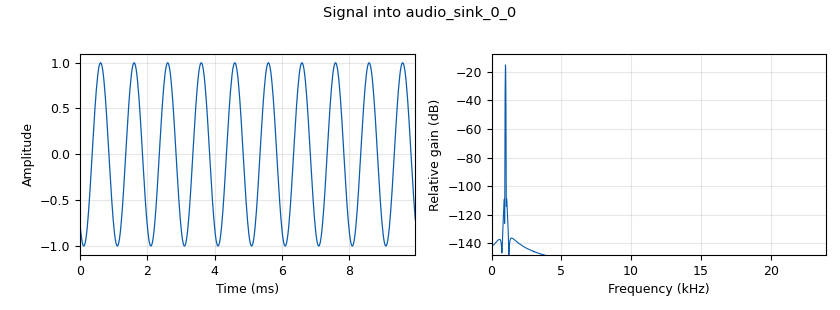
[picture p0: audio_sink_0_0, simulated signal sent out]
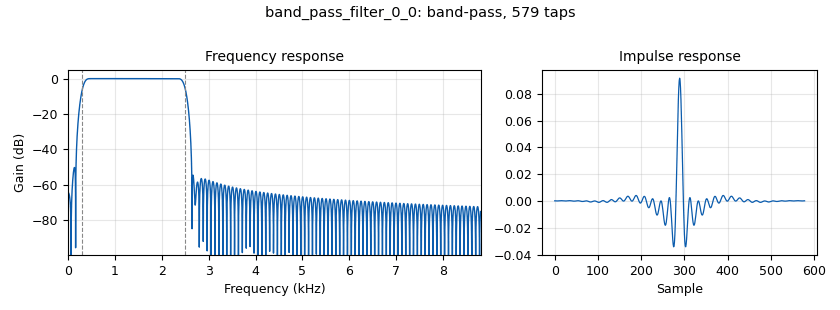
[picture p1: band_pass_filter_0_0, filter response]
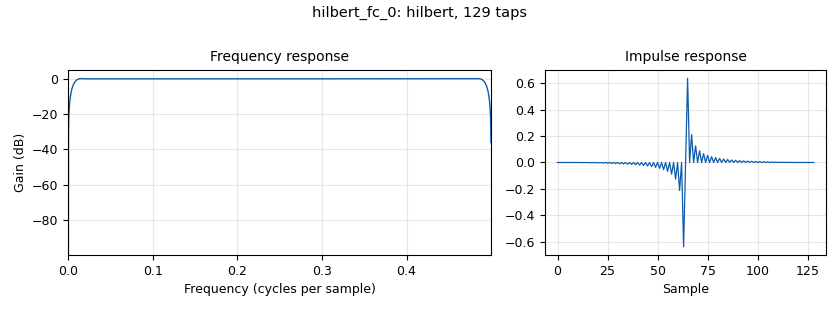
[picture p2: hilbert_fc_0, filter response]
options:
  parameters:
    author: oystein
    generate_options: qt_gui
    id: am_rx_test
    output_language: python
    title: Not titled yet
  states: {}

blocks:
- name: samp_rate
  id: variable
  parameters:
    value: '48000'
  states: {}
- name: analog_am_demod_cf_0
  id: analog_am_demod_cf
  parameters:
    audio_decim: '1'
    audio_pass: '6000'
    audio_stop: '8000'
    chan_rate: samp_rate
  states: {}
- name: analog_sig_source_x_0
  id: analog_sig_source_x
  parameters:
    amp: '1'
    comment: negative mixes down
    freq: '-12000'
    offset: '0'
    phase: '0'
    samp_rate: samp_rate
    type: complex
    waveform: analog.GR_COS_WAVE
  states: {}
- name: analog_sig_source_x_0_0
  id: analog_sig_source_x
  parameters:
    amp: '1'
    comment: negative mixes down
    freq: '1000'
    offset: '0'
    phase: '0'
    samp_rate: samp_rate
    type: float
    waveform: analog.GR_SIN_WAVE
  states: {}
- name: audio_sink_0
  id: audio_sink
  parameters:
    device_name: plughw:CARD=CODEC,DEV=0
    samp_rate: '48000'
  states: {}
- name: audio_sink_0_0
  id: audio_sink
  parameters:
    device_name: plughw:CARD=USB,DEV=0
    samp_rate: samp_rate
  states: {}
- name: audio_source_0
  id: audio_source
  parameters:
    device_name: plughw:CARD=CODEC,DEV=0
    samp_rate: samp_rate
  states: {}
- name: band_pass_filter_0_0
  id: band_pass_filter
  parameters:
    comment: 'complex band pass: positive keeps USB, negative keeps LSB'
    decim: '1'
    gain: '1'
    high_cutoff_freq: '2500'
    low_cutoff_freq: '300'
    samp_rate: samp_rate
    type: fir_filter_fff
    width: '200'
    win: window.WIN_HAMMING
  states: {}
- name: band_pass_filter_0_0_0
  id: band_pass_filter
  parameters:
    comment: 'complex band pass: positive keeps USB, negative keeps LSB'
    decim: '1'
    gain: '1'
    high_cutoff_freq: '2500'
    low_cutoff_freq: '300'
    samp_rate: samp_rate
    type: fir_filter_fff
    width: '200'
    win: window.WIN_HAMMING
  states: {}
- name: blocks_file_source_0
  id: blocks_file_source
  parameters:
    file: /home/oystein/test_la7lka.wav
    repeat: 'True'
    type: float
  states: {state: disabled}
- name: blocks_multiply_xx_0
  id: blocks_multiply_xx
  parameters:
    type: complex
  states: {}
- name: dc_blocker_xx_0
  id: dc_blocker_xx
  parameters:
    comment: remove carrier pedestal
    length: '256'
    long_form: 'True'
    type: ff
  states: {}
- name: hilbert_fc_0
  id: hilbert_fc
  parameters:
    comment: real IF to analytic
    num_taps: '129'
    win: window.WIN_HANN
  states: {}
- name: qtgui_freq_sink_x_0
  id: qtgui_freq_sink_x
  parameters:
    average: '0.1'
    bw: samp_rate
    comment: both sidebands, for reading the suppression
    fc: '0'
    fftsize: '4096'
    freqhalf: 'False'
    grid: 'True'
    legend: 'False'
    name: baseband
    tr_tag: ''
    type: complex
    ymax: '0'
    ymin: '-120'
  states: {}
- name: qtgui_waterfall_sink_x_0
  id: qtgui_waterfall_sink_x
  parameters:
    bw: samp_rate
    fc: '0'
    fftsize: '1024'
    type: float
  states: {}

connections:
- [analog_am_demod_cf_0, '0', dc_blocker_xx_0, '0']
- [analog_sig_source_x_0, '0', blocks_multiply_xx_0, '1']
- [analog_sig_source_x_0_0, '0', band_pass_filter_0_0, '0']
- [audio_source_0, '0', hilbert_fc_0, '0']
- [band_pass_filter_0_0, '0', audio_sink_0_0, '0']
- [band_pass_filter_0_0_0, '0', audio_sink_0, '0']
- [band_pass_filter_0_0_0, '0', qtgui_waterfall_sink_x_0, '0']
- [blocks_file_source_0, '0', band_pass_filter_0_0, '0']
- [blocks_multiply_xx_0, '0', analog_am_demod_cf_0, '0']
- [blocks_multiply_xx_0, '0', qtgui_freq_sink_x_0, '0']
- [dc_blocker_xx_0, '0', band_pass_filter_0_0_0, '0']
- [hilbert_fc_0, '0', blocks_multiply_xx_0, '0']

metadata:
  file_format: 1
  grc_version: 3.10.12.0
